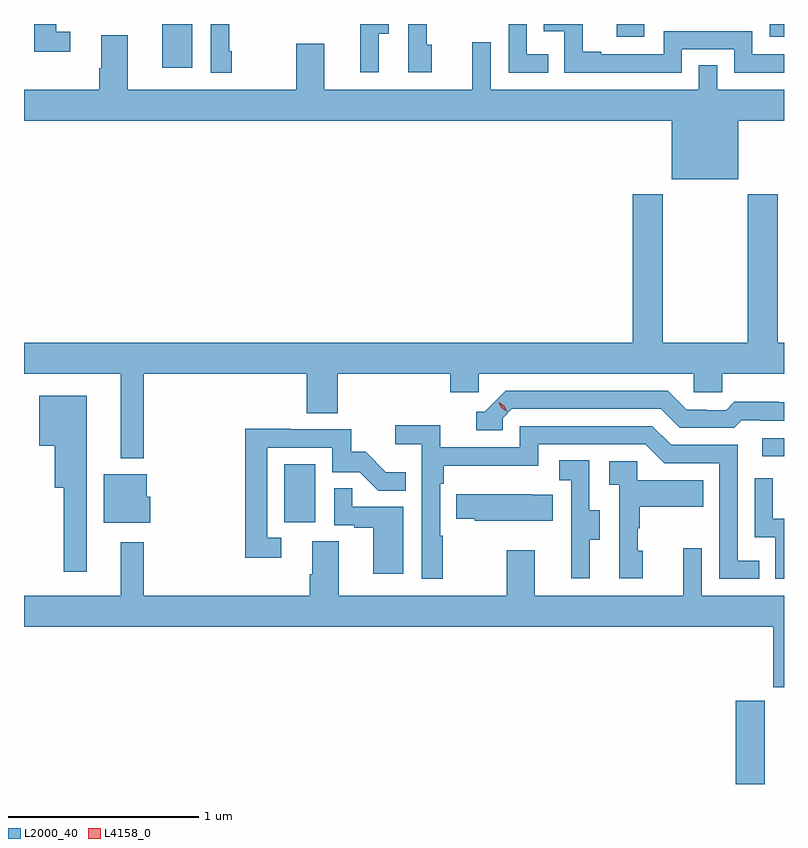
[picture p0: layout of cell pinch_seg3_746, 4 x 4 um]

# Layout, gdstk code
import gdstk
lib = gdstk.Library(unit=1e-6, precision=1e-09)
def R(c, l, rs):  # rectangles x0, y0, x1, y1
    for r in rs: c.add(gdstk.rectangle(r[:2], r[2:], *l))
def P(c, l, *ps):  # polygons
    for p in ps: c.add(gdstk.Polygon(p, *l))
L2000_40 = (2000, 40)
L4158_0 = (4158, 0)

pinch_seg3_746 = lib.new_cell('pinch_seg3_746')
R(pinch_seg3_746, L2000_40, [(835.028,728.061,835.18,728.499), (832.652,729.438,832.816,729.745), (835.167,729.786,835.282,729.882), (832.01,731.832,832.168,732.061), (834.403,731.994,834.547,732.061), (835.206,731.994,835.282,732.061)])
P(pinch_seg3_746, L2000_40, [(833.428,731.952),(833.403,731.952),(833.403,732.061),(833.304,732.061),(833.304,731.808),(833.428,731.808)],
  [(834.041,731.901),(833.928,731.901),(833.928,732.061),(833.832,732.061),(833.832,731.805),(834.041,731.805)],
  [(832.375,731.917),(832.362,731.917),(832.362,732.061),(832.266,732.061),(832.266,731.805),(832.375,731.805)],
  [(833.149,732.01),(833.203,732.01),(833.203,732.061),(833.052,732.061),(833.052,732.021),(833.051,732.021),(833.051,731.808),(833.149,731.808)],
  [(831.526,732.021),(831.453,732.021),(831.453,732.061),(831.337,732.061),(831.337,731.916),(831.526,731.916)],
  [(834.744,731.928),(835.02,731.928),(835.02,731.805),(835.282,731.805),(835.282,731.901),(835.116,731.901),(835.116,732.024),(834.648,732.024),(834.648,731.901),(834.319,731.901),(834.319,731.914),(834.224,731.914),(834.224,732.061),(834.018,732.061),(834.018,732.024),(834.126,732.024),(834.126,731.805),(834.744,731.805)],
  [(835.042,731.552),(835.282,731.552),(835.282,731.716),(834.93,731.716),(834.93,731.843),(834.834,731.843),(834.834,731.716),(833.739,731.716),(833.739,731.965),(833.642,731.965),(833.642,731.716),(832.861,731.716),(832.861,731.956),(832.714,731.956),(832.714,731.716),(831.829,731.716),(831.829,732.002),(831.689,732.002),(831.689,731.828),(831.677,731.828),(831.677,731.716),(831.282,731.716),(831.282,731.552),(834.692,731.552),(834.692,731.243),(835.042,731.243)],
  [(831.913,730.22),(832.769,730.22),(832.769,730.012),(832.934,730.012),(832.934,730.22),(833.525,730.22),(833.525,730.122),(833.676,730.122),(833.676,730.22),(834.807,730.22),(834.807,730.122),(834.957,730.122),(834.957,730.22),(835.282,730.22),(835.282,730.384),(835.25,730.384),(835.25,731.164),(835.09,731.164),(835.09,730.384),(834.645,730.384),(834.645,731.164),(834.485,731.164),(834.485,730.384),(831.282,730.384),(831.282,730.22),(831.791,730.22),(831.791,729.776),(831.913,729.776)],
  [(833.802,729.987),(833.85,730.035),(834.633,730.035),(834.732,729.936),(835.021,729.936),(835.06,729.975),(835.159,729.975),(835.159,729.972),(835.282,729.972),(835.282,730.069),(835.254,730.069),(835.254,730.072),(835.021,730.072),(834.979,730.029),(834.876,730.029),(834.876,730.032),(834.769,730.032),(834.67,730.131),(833.817,730.131),(833.706,730.02),(833.663,730.02),(833.663,729.924),(833.802,729.924)],
  [(831.613,730.105),(831.362,730.105),(831.362,729.842),(831.443,729.842),(831.443,729.62),(831.492,729.62),(831.492,729.177),(831.613,729.177)],
  [(833.485,729.368),(833.472,729.368),(833.472,729.641),(833.492,729.641),(833.492,729.737),(833.988,729.737),(833.988,729.849),(834.552,729.849),(834.651,729.75),(834.942,729.75),(834.942,729.141),(835.151,729.141),(835.151,729.237),(835.038,729.237),(835.038,729.846),(834.688,729.846),(834.589,729.945),(833.892,729.945),(833.892,729.834),(833.474,729.834),(833.474,729.95),(833.235,729.95),(833.235,729.848),(833.376,729.848),(833.376,729.141),(833.485,729.141)],
  [(832.636,729.357),(832.563,729.357),(832.563,729.831),(832.905,729.831),(832.905,729.702),(833.049,729.702),(833.147,729.604),(833.291,729.604),(833.291,729.703),(833.187,729.703),(833.08,729.81),(833.004,729.81),(833.004,729.927),(832.685,729.927),(832.685,729.932),(832.447,729.932),(832.447,729.252),(832.636,729.252)],
  [(834.259,729.346),(834.313,729.346),(834.313,729.501),(834.258,729.501),(834.258,729.764),(834.099,729.764),(834.099,729.661),(834.162,729.661),(834.162,729.357),(834.161,729.357),(834.161,729.144),(834.259,729.144)],
  [(834.538,729.288),(834.513,729.288),(834.513,729.407),(834.523,729.407),(834.523,729.521),(834.857,729.521),(834.857,729.661),(834.51,729.661),(834.51,729.759),(834.363,729.759),(834.363,729.635),(834.414,729.635),(834.414,729.144),(834.538,729.144)],
  [(831.946,729.573),(831.928,729.573),(831.928,729.691),(831.701,729.691),(831.701,729.437),(831.946,729.437)],
  [(835.282,729.458),(835.224,729.458),(835.224,729.67),(835.128,729.67),(835.128,729.36),(835.236,729.36),(835.236,729.141),(835.282,729.141)],
  [(833.278,729.519),(833.009,729.519),(833.009,729.617),(832.914,729.617),(832.914,729.423),(833.021,729.423),(833.021,729.411),(833.12,729.411),(833.12,729.168),(833.278,729.168)],
  [(834.065,729.583),(833.957,729.583),(833.957,729.586),(833.557,729.586),(833.557,729.457),(833.655,729.457),(833.655,729.446),(834.065,729.446)],
  [(835.282,729.052),(834.849,729.052),(834.849,729.301),(834.752,729.301),(834.752,729.052),(833.971,729.052),(833.971,729.292),(833.824,729.292),(833.824,729.052),(832.939,729.052),(832.939,729.338),(832.799,729.338),(832.799,729.164),(832.787,729.164),(832.787,729.052),(831.913,729.052),(831.913,729.334),(831.791,729.334),(831.791,729.052),(831.282,729.052),(831.282,728.888),(835.226,728.888),(835.226,728.571),(835.282,728.571)])
P(pinch_seg3_746, L4158_0, [(833.825,730.02),(833.795,730.04),(833.779,730.073),(833.779,730.073),(833.779,730.073),(833.81,730.053),(833.825,730.021),(833.825,730.02)])

lib.write_gds('pinch_seg3_746.gds')
